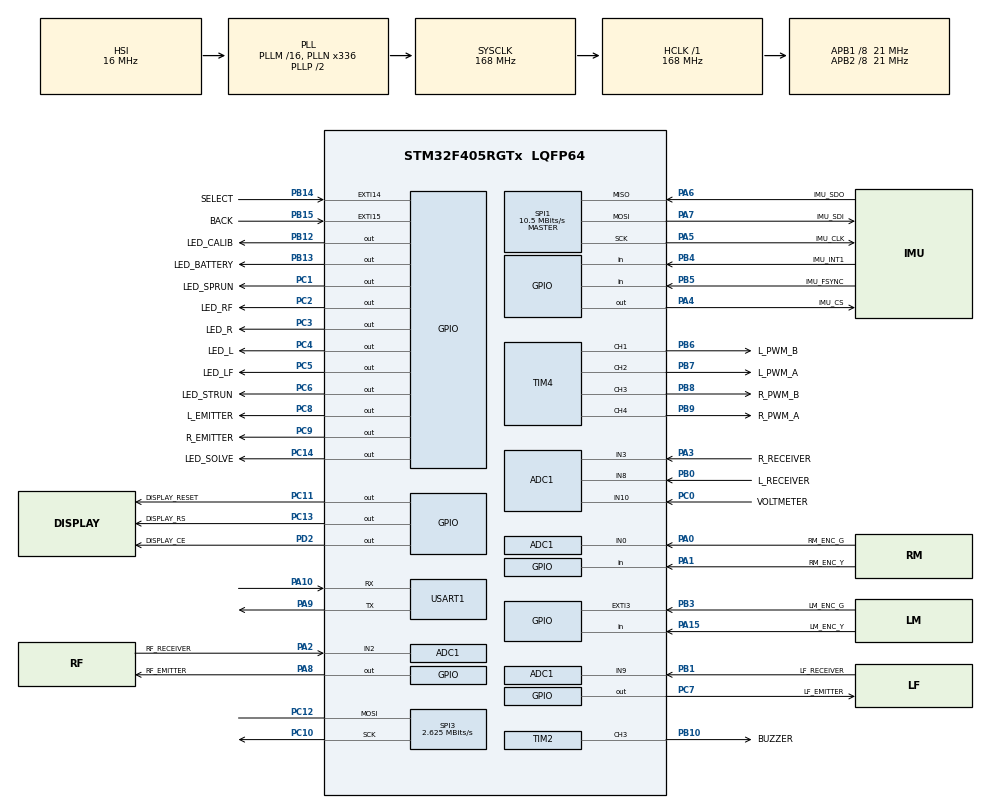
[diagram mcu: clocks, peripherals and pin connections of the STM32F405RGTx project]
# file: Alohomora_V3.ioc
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ADC1.Channel-0\#ChannelRegularConversion=ADC_CHANNEL_10
ADC1.NbrOfConversionFlag=1
ADC1.Rank-0\#ChannelRegularConversion=1
ADC1.SamplingTime-0\#ChannelRegularConversion=ADC_SAMPLETIME_3CYCLES
ADC1.master=1
Mcu.Family=STM32F4
Mcu.Name=STM32F405RGTx
Mcu.Package=LQFP64
NVIC.PriorityGroup=NVIC_PRIORITYGROUP_4
PA0-WKUP.GPIO_Label=RM_ENC_G
PA0-WKUP.Signal=ADCx_IN0
PA1.GPIO_Label=RM_ENC_Y
PA1.Signal=GPIO_Input
PA10.Mode=Asynchronous
PA10.Signal=USART1_RX
PA13.Mode=Serial_Wire
PA13.Signal=SYS_JTMS-SWDIO
PA14.Mode=Serial_Wire
PA14.Signal=SYS_JTCK-SWCLK
PA15.GPIO_Label=LM_ENC_Y
PA15.Signal=GPIO_Input
PA2.GPIO_Label=RF_RECEIVER
PA2.Signal=ADCx_IN2
PA3.GPIO_Label=R_RECEIVER
PA3.Signal=ADCx_IN3
PA4.GPIO_Label=IMU_CS
PA4.Signal=GPIO_Output
PA5.GPIO_Label=IMU_CLK
PA5.Mode=Full_Duplex_Master
PA5.Signal=SPI1_SCK
PA6.GPIO_Label=IMU_SDO
PA6.Mode=Full_Duplex_Master
PA6.Signal=SPI1_MISO
PA7.GPIO_Label=IMU_SDI
PA7.Mode=Full_Duplex_Master
PA7.Signal=SPI1_MOSI
PA8.GPIO_Label=RF_EMITTER
PA8.Signal=GPIO_Output
PA9.Mode=Asynchronous
PA9.Signal=USART1_TX
PB0.GPIO_Label=L_RECEIVER
PB0.Signal=ADCx_IN8
PB1.GPIO_Label=LF_RECEIVER
PB1.Signal=ADCx_IN9
PB10.GPIO_Label=BUZZER
PB10.Signal=S_TIM2_CH3
PB12.GPIO_Label=LED_CALIB
PB12.Signal=GPIO_Output
PB13.GPIO_Label=LED_BATTERY
PB13.Signal=GPIO_Output
PB14.GPIO_Label=SELECT
PB14.Signal=GPXTI14
PB15.GPIO_Label=BACK
PB15.Signal=GPXTI15
PB3.GPIO_Label=LM_ENC_G
PB3.Signal=GPXTI3
PB4.GPIO_Label=IMU_INT1
PB4.Signal=GPIO_Input
PB5.GPIO_Label=IMU_FSYNC
PB5.Signal=GPIO_Input
PB6.GPIO_Label=L_PWM_B
PB6.Signal=S_TIM4_CH1
PB7.GPIO_Label=L_PWM_A
PB7.Signal=S_TIM4_CH2
PB8.GPIO_Label=R_PWM_B
PB8.Signal=S_TIM4_CH3
PB9.GPIO_Label=R_PWM_A
PB9.Signal=S_TIM4_CH4
PC0.GPIO_Label=VOLTMETER
PC0.Signal=ADCx_IN10
PC1.GPIO_Label=LED_SPRUN
PC1.Signal=GPIO_Output
PC10.Mode=Simplex_Bidirectional_Master
PC10.Signal=SPI3_SCK
PC11.GPIO_Label=DISPLAY_RESET
PC11.Signal=GPIO_Output
PC12.Mode=Simplex_Bidirectional_Master
PC12.Signal=SPI3_MOSI
PC13-ANTI_TAMP.GPIO_Label=DISPLAY_RS
PC13-ANTI_TAMP.Signal=GPIO_Output
PC14-OSC32_IN.GPIO_Label=LED_SOLVE
PC14-OSC32_IN.Signal=GPIO_Output
PC2.GPIO_Label=LED_RF
PC2.Signal=GPIO_Output
PC3.GPIO_Label=LED_R
PC3.Signal=GPIO_Output
PC4.GPIO_Label=LED_L
PC4.Signal=GPIO_Output
PC5.GPIO_Label=LED_LF
PC5.Signal=GPIO_Output
PC6.GPIO_Label=LED_STRUN
PC6.Signal=GPIO_Output
PC7.GPIO_Label=LF_EMITTER
PC7.Signal=GPIO_Output
PC8.GPIO_Label=L_EMITTER
PC8.Signal=GPIO_Output
PC9.GPIO_Label=R_EMITTER
PC9.Signal=GPIO_Output
PD2.GPIO_Label=DISPLAY_CE
PD2.Signal=GPIO_Output
ProjectManager.HeapSize=0x200
ProjectManager.StackSize=0x400
ProjectManager.TargetToolchain=STM32CubeIDE
RCC.48MHZClocksFreq_Value=48000000
RCC.AHBFreq_Value=168000000
RCC.APB1CLKDivider=RCC_HCLK_DIV8
RCC.APB1Freq_Value=21000000
RCC.APB1TimFreq_Value=42000000
RCC.APB2CLKDivider=RCC_HCLK_DIV8
RCC.APB2Freq_Value=21000000
RCC.APB2TimFreq_Value=42000000
RCC.CortexFreq_Value=168000000
RCC.HCLKFreq_Value=168000000
RCC.HSE_VALUE=25000000
RCC.HSI_VALUE=16000000
RCC.LSE_VALUE=32768
RCC.PLLN=336
RCC.PLLQ=7
RCC.RCC_RTC_Clock_Source=RCC_RTCCLKSOURCE_LSI
RCC.RCC_RTC_Clock_SourceVirtual=RCC_RTCCLKSOURCE_LSI
RCC.SYSCLKFreq_VALUE=168000000
RCC.SYSCLKSource=RCC_SYSCLKSOURCE_PLLCLK
RCC.VCOOutputFreq_Value=336000000
SH.ADCx_IN0.0=ADC1_IN0,IN0
SH.ADCx_IN10.0=ADC1_IN10,IN10
SH.ADCx_IN2.0=ADC1_IN2,IN2
SH.ADCx_IN3.0=ADC1_IN3,IN3
SH.ADCx_IN8.0=ADC1_IN8,IN8
SH.ADCx_IN9.0=ADC1_IN9,IN9
SH.S_TIM2_CH3.0=TIM2_CH3,PWM Generation3 CH3
SH.S_TIM4_CH1.0=TIM4_CH1,PWM Generation1 CH1
SH.S_TIM4_CH2.0=TIM4_CH2,PWM Generation2 CH2
SH.S_TIM4_CH3.0=TIM4_CH3,PWM Generation3 CH3
SH.S_TIM4_CH4.0=TIM4_CH4,PWM Generation4 CH4
SPI1.CalculateBaudRate=10.5 MBits/s
SPI1.Direction=SPI_DIRECTION_2LINES
SPI1.Mode=SPI_MODE_MASTER
SPI1.VirtualType=VM_MASTER
SPI3.BaudRatePrescaler=SPI_BAUDRATEPRESCALER_8
SPI3.CRCCalculation=SPI_CRCCALCULATION_DISABLE
SPI3.CalculateBaudRate=2.625 MBits/s
SPI3.Direction=SPI_DIRECTION_1LINE
SPI3.FirstBit=SPI_FIRSTBIT_MSB
SPI3.Mode=SPI_MODE_MASTER
SPI3.VirtualType=VM_MASTER
TIM2.Channel-PWM\ Generation3\ CH3=TIM_CHANNEL_3
TIM4.Channel-PWM\ Generation1\ CH1=TIM_CHANNEL_1
TIM4.Channel-PWM\ Generation2\ CH2=TIM_CHANNEL_2
TIM4.Channel-PWM\ Generation3\ CH3=TIM_CHANNEL_3
TIM4.Channel-PWM\ Generation4\ CH4=TIM_CHANNEL_4
USART1.VirtualMode=VM_ASYNC
board=custom

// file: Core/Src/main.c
/* USER CODE BEGIN Header */
/**
  ******************************************************************************
  * @file           : main.c
  * @brief          : Main program body
  ******************************************************************************
  * @attention
  *
  * Copyright (c) 2025 STMicroelectronics.
  * All rights reserved.
  *
  * This software is licensed under terms that can be found in the LICENSE file
  * in the root directory of this software component.
  * If no LICENSE file comes with this software, it is provided AS-IS.
  *
  ******************************************************************************
  */
/* USER CODE END Header */
#include "main.h"

ADC_HandleTypeDef hadc1;

SPI_HandleTypeDef hspi1;
SPI_HandleTypeDef hspi3;

TIM_HandleTypeDef htim2;
TIM_HandleTypeDef htim4;

UART_HandleTypeDef huart1;

void SystemClock_Config(void);
static void MX_GPIO_Init(void);
static void MX_USART1_UART_Init(void);
static void MX_ADC1_Init(void);
static void MX_SPI1_Init(void);
static void MX_TIM4_Init(void);
static void MX_SPI3_Init(void);
static void MX_TIM2_Init(void);

const uint8_t font_5x7[96][5] = {
    {0x00, 0x00, 0x00, 0x00, 0x00}, // Space (ASCII 32)
    // ... Other characters omitted for brevity
    {0x3E, 0x41, 0x41, 0x41, 0x3E}, // O (ASCII 79)
    {0x7F, 0x04, 0x08, 0x10, 0x7F}  // N (ASCII 78)
};

void HCMS2903_Init(void);
void HCMS2903_SendByte(uint8_t data);
void HCMS2903_TurnOnAllLeds();

int main(void)
{

  /* MCU Configuration--------------------------------------------------------*/

  /* Reset of all peripherals, Initializes the Flash interface and the Systick. */
  HAL_Init();

  /* Configure the system clock */
  SystemClock_Config();

  /* Initialize all configured peripherals */
  MX_GPIO_Init();
  MX_USART1_UART_Init();
  MX_ADC1_Init();
  MX_SPI1_Init();
  MX_TIM4_Init();
  MX_SPI3_Init();
  MX_TIM2_Init();
  HCMS2903_Init();

  /* USER CODE BEGIN 2 */

  // Display "TEST"

  /* USER CODE END 2 */

  /* Infinite loop */
  /* USER CODE BEGIN WHILE */
  HCMS2903_TurnOnAllLeds();
  while (1)
  {
    /* USER CODE END WHILE */
	  HAL_GPIO_TogglePin(LED_LF_GPIO_Port, LED_LF_Pin);
	  HAL_Delay(500);

  }
}

void SystemClock_Config(void)
{
  RCC_OscInitTypeDef RCC_OscInitStruct = {0};
  RCC_ClkInitTypeDef RCC_ClkInitStruct = {0};

  /** Configure the main internal regulator output voltage
  */
  __HAL_RCC_PWR_CLK_ENABLE();
  __HAL_PWR_VOLTAGESCALING_CONFIG(PWR_REGULATOR_VOLTAGE_SCALE1);

  /** Initializes the RCC Oscillators according to the specified parameters
  * in the RCC_OscInitTypeDef structure.
  */
  RCC_OscInitStruct.OscillatorType = RCC_OSCILLATORTYPE_HSI;
  RCC_OscInitStruct.HSIState = RCC_HSI_ON;
  RCC_OscInitStruct.HSICalibrationValue = RCC_HSICALIBRATION_DEFAULT;
  RCC_OscInitStruct.PLL.PLLState = RCC_PLL_ON;
  RCC_OscInitStruct.PLL.PLLSource = RCC_PLLSOURCE_HSI;
  RCC_OscInitStruct.PLL.PLLM = 16;
  RCC_OscInitStruct.PLL.PLLN = 336;
  RCC_OscInitStruct.PLL.PLLP = RCC_PLLP_DIV2;
  RCC_OscInitStruct.PLL.PLLQ = 7;
  if (HAL_RCC_OscConfig(&RCC_OscInitStruct) != HAL_OK)
  {
    Error_Handler();
  }

  /** Initializes the CPU, AHB and APB buses clocks
  */
  RCC_ClkInitStruct.ClockType = RCC_CLOCKTYPE_HCLK|RCC_CLOCKTYPE_SYSCLK
                              |RCC_CLOCKTYPE_PCLK1|RCC_CLOCKTYPE_PCLK2;
  RCC_ClkInitStruct.SYSCLKSource = RCC_SYSCLKSOURCE_PLLCLK;
  RCC_ClkInitStruct.AHBCLKDivider = RCC_SYSCLK_DIV1;
  RCC_ClkInitStruct.APB1CLKDivider = RCC_HCLK_DIV8;
  RCC_ClkInitStruct.APB2CLKDivider = RCC_HCLK_DIV8;

  if (HAL_RCC_ClockConfig(&RCC_ClkInitStruct, FLASH_LATENCY_5) != HAL_OK)
  {
    Error_Handler();
  }
}

static void MX_ADC1_Init(void)
{

  ADC_ChannelConfTypeDef sConfig = {0};

  /** Configure the global features of the ADC (Clock, Resolution, Data Alignment and number of conversion)
  */
  hadc1.Instance = ADC1;
  hadc1.Init.ClockPrescaler = ADC_CLOCK_SYNC_PCLK_DIV2;
  hadc1.Init.Resolution = ADC_RESOLUTION_12B;
  hadc1.Init.ScanConvMode = DISABLE;
  hadc1.Init.ContinuousConvMode = DISABLE;
  hadc1.Init.DiscontinuousConvMode = DISABLE;
  hadc1.Init.ExternalTrigConvEdge = ADC_EXTERNALTRIGCONVEDGE_NONE;
  hadc1.Init.ExternalTrigConv = ADC_SOFTWARE_START;
  hadc1.Init.DataAlign = ADC_DATAALIGN_RIGHT;
  hadc1.Init.NbrOfConversion = 1;
  hadc1.Init.DMAContinuousRequests = DISABLE;
  hadc1.Init.EOCSelection = ADC_EOC_SINGLE_CONV;
  if (HAL_ADC_Init(&hadc1) != HAL_OK)
  {
    Error_Handler();
  }

  /** Configure for the selected ADC regular channel its corresponding rank in the sequencer and its sample time.
  */
  sConfig.Channel = ADC_CHANNEL_10;
  sConfig.Rank = 1;
  sConfig.SamplingTime = ADC_SAMPLETIME_3CYCLES;
  if (HAL_ADC_ConfigChannel(&hadc1, &sConfig) != HAL_OK)
  {
    Error_Handler();
  }

}

static void MX_SPI1_Init(void)
{

  /* SPI1 parameter configuration*/
  hspi1.Instance = SPI1;
  hspi1.Init.Mode = SPI_MODE_MASTER;
  hspi1.Init.Direction = SPI_DIRECTION_2LINES;
  hspi1.Init.DataSize = SPI_DATASIZE_8BIT;
  hspi1.Init.CLKPolarity = SPI_POLARITY_LOW;
  hspi1.Init.CLKPhase = SPI_PHASE_1EDGE;
  hspi1.Init.NSS = SPI_NSS_SOFT;
  hspi1.Init.BaudRatePrescaler = SPI_BAUDRATEPRESCALER_2;
  hspi1.Init.FirstBit = SPI_FIRSTBIT_MSB;
  hspi1.Init.TIMode = SPI_TIMODE_DISABLE;
  hspi1.Init.CRCCalculation = SPI_CRCCALCULATION_DISABLE;
  hspi1.Init.CRCPolynomial = 10;
  if (HAL_SPI_Init(&hspi1) != HAL_OK)
  {
    Error_Handler();
  }

}

static void MX_SPI3_Init(void)
{

  /* SPI3 parameter configuration*/
  hspi3.Instance = SPI3;
  hspi3.Init.Mode = SPI_MODE_MASTER;
  hspi3.Init.Direction = SPI_DIRECTION_1LINE;
  hspi3.Init.DataSize = SPI_DATASIZE_8BIT;
  hspi3.Init.CLKPolarity = SPI_POLARITY_LOW;
  hspi3.Init.CLKPhase = SPI_PHASE_1EDGE;
  hspi3.Init.NSS = SPI_NSS_SOFT;
  hspi3.Init.BaudRatePrescaler = SPI_BAUDRATEPRESCALER_64;
  hspi3.Init.FirstBit = SPI_FIRSTBIT_LSB;
  hspi3.Init.TIMode = SPI_TIMODE_DISABLE;
  hspi3.Init.CRCCalculation = SPI_CRCCALCULATION_DISABLE;
  hspi3.Init.CRCPolynomial = 10;
  if (HAL_SPI_Init(&hspi3) != HAL_OK)
  {
    Error_Handler();
  }

}

static void MX_TIM2_Init(void)
{

  TIM_MasterConfigTypeDef sMasterConfig = {0};
  TIM_OC_InitTypeDef sConfigOC = {0};

  htim2.Instance = TIM2;
  htim2.Init.Prescaler = 0;
  htim2.Init.CounterMode = TIM_COUNTERMODE_UP;
  htim2.Init.Period = 4294967295;
  htim2.Init.ClockDivision = TIM_CLOCKDIVISION_DIV1;
  htim2.Init.AutoReloadPreload = TIM_AUTORELOAD_PRELOAD_DISABLE;
  if (HAL_TIM_PWM_Init(&htim2) != HAL_OK)
  {
    Error_Handler();
  }
  sMasterConfig.MasterOutputTrigger = TIM_TRGO_RESET;
  sMasterConfig.MasterSlaveMode = TIM_MASTERSLAVEMODE_DISABLE;
  if (HAL_TIMEx_MasterConfigSynchronization(&htim2, &sMasterConfig) != HAL_OK)
  {
    Error_Handler();
  }
  sConfigOC.OCMode = TIM_OCMODE_PWM1;
  sConfigOC.Pulse = 0;
  sConfigOC.OCPolarity = TIM_OCPOLARITY_HIGH;
  sConfigOC.OCFastMode = TIM_OCFAST_DISABLE;
  if (HAL_TIM_PWM_ConfigChannel(&htim2, &sConfigOC, TIM_CHANNEL_3) != HAL_OK)
  {
    Error_Handler();
  }
  HAL_TIM_MspPostInit(&htim2);

}

static void MX_TIM4_Init(void)
{

  TIM_MasterConfigTypeDef sMasterConfig = {0};
  TIM_OC_InitTypeDef sConfigOC = {0};

  htim4.Instance = TIM4;
  htim4.Init.Prescaler = 0;
  htim4.Init.CounterMode = TIM_COUNTERMODE_UP;
  htim4.Init.Period = 65535;
  htim4.Init.ClockDivision = TIM_CLOCKDIVISION_DIV1;
  htim4.Init.AutoReloadPreload = TIM_AUTORELOAD_PRELOAD_DISABLE;
  if (HAL_TIM_PWM_Init(&htim4) != HAL_OK)
  {
    Error_Handler();
  }
  sMasterConfig.MasterOutputTrigger = TIM_TRGO_RESET;
  sMasterConfig.MasterSlaveMode = TIM_MASTERSLAVEMODE_DISABLE;
  if (HAL_TIMEx_MasterConfigSynchronization(&htim4, &sMasterConfig) != HAL_OK)
  {
    Error_Handler();
  }
  sConfigOC.OCMode = TIM_OCMODE_PWM1;
  sConfigOC.Pulse = 0;
  sConfigOC.OCPolarity = TIM_OCPOLARITY_HIGH;
  sConfigOC.OCFastMode = TIM_OCFAST_DISABLE;
  if (HAL_TIM_PWM_ConfigChannel(&htim4, &sConfigOC, TIM_CHANNEL_1) != HAL_OK)
  {
    Error_Handler();
  }
  if (HAL_TIM_PWM_ConfigChannel(&htim4, &sConfigOC, TIM_CHANNEL_2) != HAL_OK)
  {
    Error_Handler();
  }
  if (HAL_TIM_PWM_ConfigChannel(&htim4, &sConfigOC, TIM_CHANNEL_3) != HAL_OK)
  {
    Error_Handler();
  }
  if (HAL_TIM_PWM_ConfigChannel(&htim4, &sConfigOC, TIM_CHANNEL_4) != HAL_OK)
  {
    Error_Handler();
  }
  HAL_TIM_MspPostInit(&htim4);

}

static void MX_USART1_UART_Init(void)
{

  huart1.Instance = USART1;
  huart1.Init.BaudRate = 115200;
  huart1.Init.WordLength = UART_WORDLENGTH_8B;
  huart1.Init.StopBits = UART_STOPBITS_1;
  huart1.Init.Parity = UART_PARITY_NONE;
  huart1.Init.Mode = UART_MODE_TX_RX;
  huart1.Init.HwFlowCtl = UART_HWCONTROL_NONE;
  huart1.Init.OverSampling = UART_OVERSAMPLING_16;
  if (HAL_UART_Init(&huart1) != HAL_OK)
  {
    Error_Handler();
  }

}

static void MX_GPIO_Init(void)
{
  GPIO_InitTypeDef GPIO_InitStruct = {0};

  /* GPIO Ports Clock Enable */
  __HAL_RCC_GPIOC_CLK_ENABLE();
  __HAL_RCC_GPIOA_CLK_ENABLE();
  __HAL_RCC_GPIOB_CLK_ENABLE();
  __HAL_RCC_GPIOD_CLK_ENABLE();

  /*Configure GPIO pin Output Level */
  HAL_GPIO_WritePin(GPIOC, DISPLAY_RS_Pin|LED_SOLVE_Pin|LED_SPRUN_Pin|LED_RF_Pin
                          |LED_R_Pin|LED_L_Pin|LED_LF_Pin|LED_STRUN_Pin
                          |LF_EMITTER_Pin|L_EMITTER_Pin|R_EMITTER_Pin|DISPLAY_RESET_Pin, GPIO_PIN_RESET);

  /*Configure GPIO pin Output Level */
  HAL_GPIO_WritePin(GPIOA, IMU_CS_Pin|RF_EMITTER_Pin, GPIO_PIN_RESET);

  /*Configure GPIO pin Output Level */
  HAL_GPIO_WritePin(GPIOB, LED_CALIB_Pin|LED_BATTERY_Pin, GPIO_PIN_RESET);

  /*Configure GPIO pin Output Level */
  HAL_GPIO_WritePin(DISPLAY_CE_GPIO_Port, DISPLAY_CE_Pin, GPIO_PIN_RESET);

  /*Configure GPIO pins : DISPLAY_RS_Pin LED_SOLVE_Pin LED_SPRUN_Pin LED_RF_Pin
                           LED_R_Pin LED_L_Pin LED_LF_Pin LED_STRUN_Pin
                           LF_EMITTER_Pin L_EMITTER_Pin R_EMITTER_Pin DISPLAY_RESET_Pin */
  GPIO_InitStruct.Pin = DISPLAY_RS_Pin|LED_SOLVE_Pin|LED_SPRUN_Pin|LED_RF_Pin
                          |LED_R_Pin|LED_L_Pin|LED_LF_Pin|LED_STRUN_Pin
                          |LF_EMITTER_Pin|L_EMITTER_Pin|R_EMITTER_Pin|DISPLAY_RESET_Pin;
  GPIO_InitStruct.Mode = GPIO_MODE_OUTPUT_PP;
  GPIO_InitStruct.Pull = GPIO_NOPULL;
  GPIO_InitStruct.Speed = GPIO_SPEED_FREQ_LOW;
  HAL_GPIO_Init(GPIOC, &GPIO_InitStruct);

  /*Configure GPIO pins : RM_ENC_Y_Pin LM_ENC_Y_Pin */
  GPIO_InitStruct.Pin = RM_ENC_Y_Pin|LM_ENC_Y_Pin;
  GPIO_InitStruct.Mode = GPIO_MODE_INPUT;
  GPIO_InitStruct.Pull = GPIO_NOPULL;
  HAL_GPIO_Init(GPIOA, &GPIO_InitStruct);

  /*Configure GPIO pins : IMU_CS_Pin RF_EMITTER_Pin */
  GPIO_InitStruct.Pin = IMU_CS_Pin|RF_EMITTER_Pin;
  GPIO_InitStruct.Mode = GPIO_MODE_OUTPUT_PP;
  GPIO_InitStruct.Pull = GPIO_NOPULL;
  GPIO_InitStruct.Speed = GPIO_SPEED_FREQ_LOW;
  HAL_GPIO_Init(GPIOA, &GPIO_InitStruct);

  /*Configure GPIO pins : LED_CALIB_Pin LED_BATTERY_Pin */
  GPIO_InitStruct.Pin = LED_CALIB_Pin|LED_BATTERY_Pin;
  GPIO_InitStruct.Mode = GPIO_MODE_OUTPUT_PP;
  GPIO_InitStruct.Pull = GPIO_NOPULL;
  GPIO_InitStruct.Speed = GPIO_SPEED_FREQ_LOW;
  HAL_GPIO_Init(GPIOB, &GPIO_InitStruct);

  /*Configure GPIO pins : SELECT_Pin BACK_Pin LM_ENC_G_Pin */
  GPIO_InitStruct.Pin = SELECT_Pin|BACK_Pin|LM_ENC_G_Pin;
  GPIO_InitStruct.Mode = GPIO_MODE_IT_RISING;
  GPIO_InitStruct.Pull = GPIO_NOPULL;
  HAL_GPIO_Init(GPIOB, &GPIO_InitStruct);

  /*Configure GPIO pin : DISPLAY_CE_Pin */
  GPIO_InitStruct.Pin = DISPLAY_CE_Pin;
  GPIO_InitStruct.Mode = GPIO_MODE_OUTPUT_PP;
  GPIO_InitStruct.Pull = GPIO_NOPULL;
  GPIO_InitStruct.Speed = GPIO_SPEED_FREQ_LOW;
  HAL_GPIO_Init(DISPLAY_CE_GPIO_Port, &GPIO_InitStruct);

  /*Configure GPIO pins : IMU_INT1_Pin IMU_FSYNC_Pin */
  GPIO_InitStruct.Pin = IMU_INT1_Pin|IMU_FSYNC_Pin;
  GPIO_InitStruct.Mode = GPIO_MODE_INPUT;
  GPIO_InitStruct.Pull = GPIO_NOPULL;
  HAL_GPIO_Init(GPIOB, &GPIO_InitStruct);

}

/* USER CODE BEGIN 4 */

// Send a single byte to HCMS-2903 via SPI3 (half-duplex)
void HCMS2903_SendByte(uint8_t data) {
    HAL_GPIO_WritePin(DISPLAY_CE_GPIO_Port, DISPLAY_CE_Pin, GPIO_PIN_RESET); // Enable chip (active-low)
    HAL_SPI_Transmit(&hspi3, &data, 1, HAL_MAX_DELAY); // Send 1 byte
    HAL_GPIO_WritePin(DISPLAY_CE_GPIO_Port, DISPLAY_CE_Pin, GPIO_PIN_SET); // Disable chip
}

// Initialize HCMS-2903 (reset and set brightness)
void HCMS2903_Init() {
    // Reset display (active-low, adjust if datasheet specifies otherwise)
    HAL_GPIO_WritePin(DISPLAY_RS_GPIO_Port, DISPLAY_RS_Pin, GPIO_PIN_RESET);
    HAL_Delay(1); // Short delay for reset pulse
    uint8_t control_word = 0x40; // Example: Normal mode, max brightness
    HCMS2903_SendByte(control_word);
    HAL_GPIO_WritePin(DISPLAY_RS_GPIO_Port, DISPLAY_RS_Pin, GPIO_PIN_SET);
    HAL_Delay(1); // Delay to stabilize
}

// Turn on all LEDs (all dots in 5x7 matrix for all 4 characters)
void HCMS2903_TurnOnAllLeds() {
    HCMS2903_Init(); // Initialize display

    // Send 0x7F to all 5 columns for each of 4 characters (20 bytes)
    for (int i = 0; i < 4; i++) { // 4 characters
        for (int col = 0; col < 5; col++) { // 5 columns per character
            HCMS2903_SendByte(0x7F); // All dots ON
        }
    }
}

//
//void HCMS2903_WriteControl(uint8_t controlWord)
//{
//  HAL_SPI_Transmit(&hspi3, &controlWord, 1, HAL_MAX_DELAY);
//}
//
//void HCMS2903_WriteChar(uint8_t character, uint8_t position)
//{
//  if (character < 32 || character > 127) return;
//  uint8_t index = character - 32;
//
//  HAL_GPIO_WritePin(DISPLAY_RS_GPIO_Port, DISPLAY_RS_Pin, GPIO_PIN_RESET);
//  HAL_GPIO_WritePin(DISPLAY_CE_GPIO_Port, DISPLAY_CE_Pin, GPIO_PIN_RESET);
//
//  for (uint8_t i = 0; i < 5; i++)
//  {
//    HAL_SPI_Transmit(&hspi3, &font_5x7[index][i], 1, HAL_MAX_DELAY);
//  }
//
//  HAL_GPIO_WritePin(DISPLAY_CE_GPIO_Port, DISPLAY_CE_Pin, GPIO_PIN_SET);
//}
//
//void HCMS2903_DisplayString(const char* str)
//{
//  for (uint8_t pos = 0; pos < 4 && str[pos] != '\0'; pos++)
//  {
//    HCMS2903_WriteChar(str[pos], pos);
//  }
//}

/* USER CODE END 4 */

void Error_Handler(void)
{
  __disable_irq();
  while (1)
  {
  }
}
